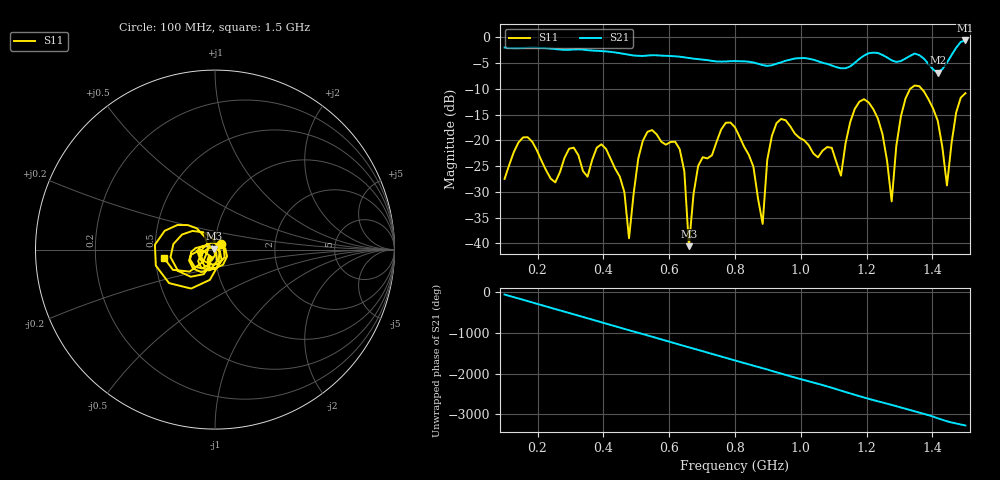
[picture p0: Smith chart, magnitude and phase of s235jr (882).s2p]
! NanoVNA-App
! Date: 2025-09-25 15:11:02
! Start: 100MHz Stop: 1,5GHz Points: 101
! S-Parameter data: F S11 S21 S12 S22
# Hz S RI R 50
!  Frequency  S11_Real  S11_Imag  S21_Real  S21_Imag  S12_Real  S12_Imag  S22_Real  S22_Imag
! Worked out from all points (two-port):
!   101 points, 100 MHz to 1.5 GHz, reference 50 ohm
!   highest |S21| = -0.59 dB at 1.5 GHz (marker M1); lowest = -6.8 dB at 1.416 GHz (marker M2)
!   |S21| within 3 dB of the highest: start of sweep to 516 MHz; 521.2 MHz to 597.1 MHz (75.94 MHz wide, 13.6 % of centre) (the widest 2 of 5)
!   lowest |S11| = -40.5 dB at 660 MHz (marker M3), VSWR 1.02, Z = 49.3 + j0.585 ohm
!   |S11| at or under -10 dB: start of sweep to 1.332 GHz; 1.367 GHz to end of sweep
!   S12 and S22 are empty: the file has one direction only
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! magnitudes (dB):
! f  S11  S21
! 100 MHz  -27.5  -2.0
! 156 MHz  -19.4  -2.0
! 338 MHz  -25.9  -2.4
! 408 MHz  -21.6  -2.7
! 478 MHz  -39.0  -3.4
! 520 MHz  -20.1  -3.6
! 576 MHz  -20.2  -3.5
! 632 MHz  -21.7  -3.7
! 660 MHz  -40.5  -4.0
! 688 MHz  -25.0  -4.2
! 800 MHz  -17.5  -4.6
! 884 MHz  -36.2  -5.4
! 926 MHz  -16.7  -5.1
! 1.038 GHz  -22.5  -4.3
! 1.122 GHz  -26.8  -6.0
! 1.192 GHz  -12.0  -3.5
! 1.248 GHz  -18.7  -3.4
! 1.276 GHz  -31.8  -4.4
! 1.332 GHz  -10.0  -3.6
! 1.416 GHz  -16.2  -6.8
! 1.444 GHz  -28.7  -4.9
! 1.5 GHz  -10.8  -0.6
